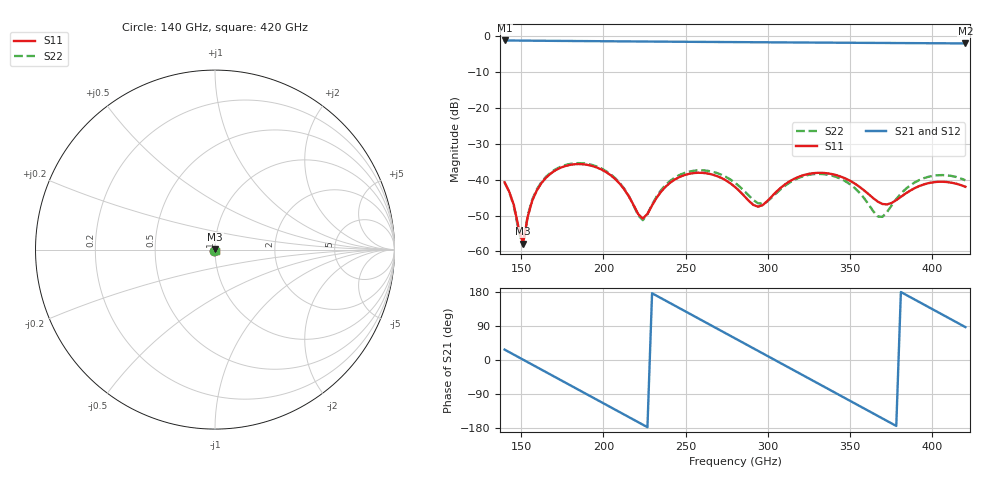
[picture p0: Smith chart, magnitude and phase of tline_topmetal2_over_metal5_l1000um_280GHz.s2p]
#  GHZ S DB R 50
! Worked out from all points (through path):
!   101 points, 140 GHz to 420 GHz, reference 50 ohm
!   highest |S21| = -1.18 dB at 140 GHz (marker M1); lowest = -2.0 dB at 420 GHz (marker M2)
!   group delay of S21, straight-line fit = 6.55 ps
!   lowest |S11| = -57.9 dB at 151.2 GHz (marker M3), VSWR 1.00, Z = 50 + j0.127 ohm
!   |S11| at or under -10 dB: start of sweep to end of sweep
!   |S22| runs from -58.5 to -35.4 dB; largest |S21 - S12| = 1.5e-14
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140  -40.72 -130.5  -1.18 27.4  -1.18 27.4  -40.74 -130.0
145.6  -47.06 -152.0  -1.21 14.2  -1.21 14.2  -47.29 -150.6
151.2  -57.87 96.7  -1.23 1.0  -1.23 1.0  -58.53 85.6
154  -50.38 45.9  -1.24 -5.6  -1.24 -5.6  -50.05 40.6
156.8  -45.84 29.6  -1.25 -12.2  -1.25 -12.2  -45.52 26.3
162.4  -40.94 10.1  -1.27 -25.4  -1.27 -25.4  -40.65 7.9
187.6  -35.69 -57.2  -1.36 -84.9  -1.36 -84.9  -35.43 -58.4
207.2  -39.82 -113.3  -1.42 -131.1  -1.42 -131.1  -39.57 -113.9
224  -50.84 129.5  -1.48 -170.7  -1.48 -170.7  -51.28 125.7
235.2  -43.27 36.3  -1.51 162.9  -1.51 162.9  -42.84 32.0
257.6  -38.06 -36.8  -1.58 110.0  -1.58 110.0  -37.39 -39.6
280  -42.02 -111.8  -1.64 57.2  -1.64 57.2  -40.85 -112.7
294  -47.53 153.2  -1.68 24.1  -1.68 24.1  -46.56 162.5
302.4  -44.63 85.9  -1.71 4.3  -1.71 4.3  -44.95 92.5
313.6  -40.33 35.4  -1.74 -22.1  -1.74 -22.1  -40.67 37.5
327.6  -38.18 -10.8  -1.77 -55.1  -1.77 -55.1  -38.46 -9.6
350  -40.32 -83.9  -1.83 -108.0  -1.83 -108.0  -41.30 -80.6
366.8  -46.12 -168.8  -1.87 -147.6  -1.87 -147.6  -50.25 178.0
375.2  -46.47 125.5  -1.90 -167.4  -1.90 -167.4  -47.15 93.8
394.8  -41.30 27.7  -1.95 146.3  -1.95 146.3  -39.57 13.4
408.8  -40.65 -21.4  -1.98 113.3  -1.98 113.3  -38.78 -29.7
420  -41.98 -62.4  -2.01 86.8  -2.01 86.8  -40.17 -65.5
